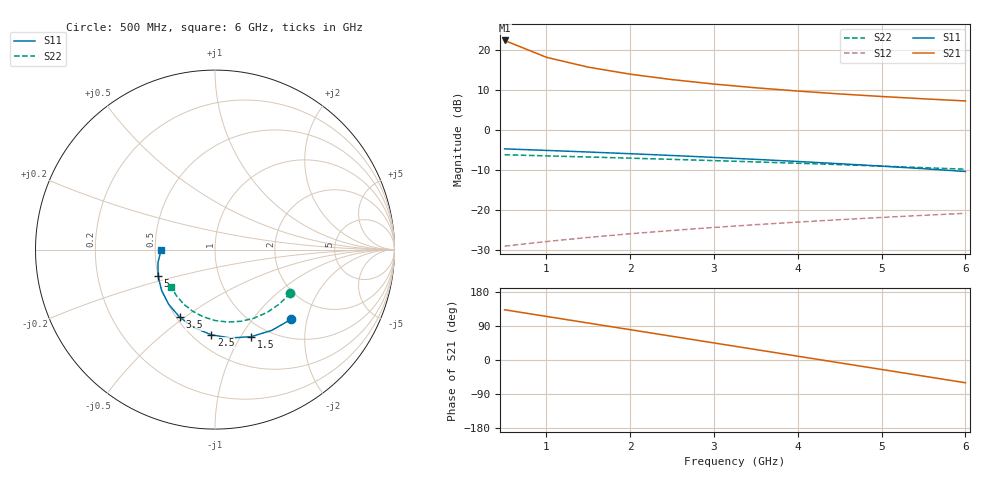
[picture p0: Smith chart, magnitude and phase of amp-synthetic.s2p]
! Synthetic small-signal amplifier, made up for the Smith Online tests
! Not a measurement and not a vendor file
# GHZ S MA R 50
! f  S11 mag  ang  S21 mag  ang  S12 mag  ang  S22 mag  ang
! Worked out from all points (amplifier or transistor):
!   12 points, 500 MHz to 6 GHz, reference 50 ohm
!   highest |S21| = 22.3 dB at 500 MHz (marker M1)
!   |S21| within 3 dB of that: start of sweep to 855.9 MHz
!   unconditionally stable (mu >= 1): 879.3 MHz to end of sweep
!   at 1.5 GHz: K = 1.20, MAG = 18.6 dB, |S12| = -26.9 dB
!   at 3.5 GHz: K = 1.60, MAG = 12.6 dB, |S12| = -23.7 dB
!   at 6 GHz: K = 1.99, MAG = 8.3 dB, |S12| = -20.9 dB
!   lowest NFmin = 0.90 dB at 1 GHz
!   S11 on the Smith chart (normalised r, x): 500 MHz: 1.39, -1.61; 1.5 GHz: 0.83, -1.11; 2.5 GHz: 0.61, -0.75; 3.5 GHz: 0.52, -0.48; 5 GHz: 0.50, -0.17; 6 GHz: 0.54, -0.00
0.5  0.575 -42.5  13 132.5  0.035 45.0  0.485 -30.0
1  0.55 -55.0  8 115.0  0.04 50.0  0.47 -40.0
1.5  0.525 -67.5  6.023 97.5  0.045 55.0  0.455 -50.0
2  0.5 -80.0  4.925 80.0  0.05 60.0  0.44 -60.0
2.5  0.475 -92.5  4.212 62.5  0.055 65.0  0.425 -70.0
3  0.45 -105.0  3.708 45.0  0.06 70.0  0.41 -80.0
3.5  0.425 -117.5  3.329 27.5  0.065 75.0  0.395 -90.0
4  0.4 -130.0  3.031 10.0  0.07 80.0  0.38 -100.0
4.5  0.375 -142.5  2.792 -7.5  0.075 85.0  0.365 -110.0
5  0.35 -155.0  2.593 -25.0  0.08 90.0  0.35 -120.0
5.5  0.325 -167.5  2.426 -42.5  0.085 95.0  0.335 -130.0
6  0.3 -180.0  2.282 -60.0  0.09 100.0  0.32 -140.0
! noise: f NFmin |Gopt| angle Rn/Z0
1  0.9  0.55  50  0.18
2  1.2  0.5  70  0.16
3  1.5  0.45  90  0.14
4  1.8  0.4  110  0.12
